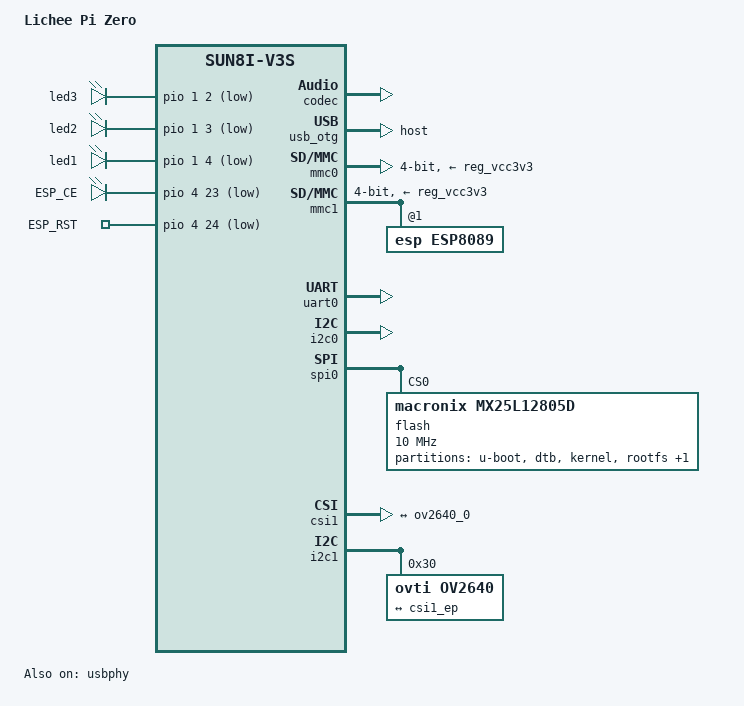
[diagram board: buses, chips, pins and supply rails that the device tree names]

/dts-v1/;
#include "sun8i-v3s.dtsi"
#include "sunxi-common-regulators.dtsi"

/ {
	model = "Lichee Pi Zero";
	compatible = "licheepi,licheepi-zero", "allwinner,sun8i-v3s";

	aliases {
		serial0 = &uart0;
	};

	chosen {
		stdout-path = "serial0:115200n8";
	};

	leds {
		compatible = "gpio-leds";

		pb2_led {
			label = "led3";
			gpios = <&pio 1 2 GPIO_ACTIVE_LOW>; /* PB2 */ //led 3
			default-state = "on";
		};
		pb3_led {
			label = "led2";
			gpios = <&pio 1 3 GPIO_ACTIVE_LOW>; /* PB3 */ //led 2
			default-state = "on";
		};
		pb4_led {
			label = "led1";
			gpios = <&pio 1 4 GPIO_ACTIVE_LOW>; /* PB4 */ //led 1
			linux,default-trigger = "heartbeat";
		};
		pe23_ESP_CE {
			label = "ESP_CE";
			gpios = <&pio 4 23 GPIO_ACTIVE_LOW>; /* PE23 */
			default-state = "off";
		};
		pe24_ESP_RST {
			label = "ESP_RST";
			gpios = <&pio 4 24 GPIO_ACTIVE_LOW>; /* PE24 */
			default-state = "off";
		};
	};
};

&codec {
	allwinner,audio-routing =
		"Headphone", "HP",
		"Headphone", "HPCOM",
		"MIC1", "Mic",
		"Mic",  "HBIAS";
	status = "okay";
};


&usb_otg {
	dr_mode = "host";
	status = "okay";
};

&usbphy {
	usb0_id_det = <&pio 5 6 GPIO_ACTIVE_HIGH>;
	status = "okay";
};

/*
&ehci0 {
	status = "okay";
};
&ohci0 {
	status = "okay";
};
*/
&mmc0 {
	broken-cd;
	bus-width = <4>;
	vmmc-supply = <&reg_vcc3v3>;
	status = "okay";
};

&mmc1 {
	#address-cells = <1>;
	#size-cells = <0>;

//	vmmc-supply = <&reg_dldo1>;
//	mmc-pwrseq = <&wifi_pwrseq>;
	bus-width = <4>;
//	non-removable;
	broken-cd;
	vmmc-supply = <&reg_vcc3v3>;
	status = "okay";

	esp8089: sdio_wifi@1 {
		compatible = "esp,esp8089";
		reg = <1>;
		esp,crystal-26M-en = <1>;
	};
};

&uart0 {
	pinctrl-0 = <&uart0_pb_pins>;
	pinctrl-names = "default";
	status = "okay";
};

&i2c0 {
	pinctrl-0 = <&i2c0_pins>;
	pinctrl-names = "default";
	status = "okay";
};

&spi0 {		// NOR Flash
        status ="okay";          
    flash: mx25l12805d@0 {
        #address-cells = <1>;
        #size-cells = <1>;
        compatible = "macronix,mx25l12805d", "jedec,spi-nor";
        reg = <0>;
        spi-max-frequency = <10000000>;
        partitions {
            compatible = "fixed-partitions";
            #address-cells = <1>;
            #size-cells = <1>;

            partition@0 {
                label = "u-boot";
                reg = <0x000000 0x80000>;
                //read-only;
            };

            partition@80000 {
                label = "dtb";
                reg = <0x80000 0x10000>;
                //read-only;
            };

            partition@90000 {
                label = "kernel";
                reg = <0x90000 0x490000>;
                //read-only;
            };

// 16MB
            partition@520000 {
                label = "rootfs";
                reg = <0x520000 0xAB0000>;
            };

            partition@FA0000 {
                label = "overlay";
                reg = <0xFD0000 0x30000>;
            };

        };
    };

};


// OV2640

&csi1 {
	status = "okay";
	pinctrl-names = "default";
	pinctrl-0 = <&csi1_8bit_pins>;
	port {
		csi1_ep: endpoint {
			remote-endpoint = <&ov2640_0>;
			hsync-active = <0>;
			vsync-active = <0>;
			bus-width = <10>;
			pclk-sample = <1>;
		};
	};
};

&i2c1 {
	pinctrl-0 = <&i2c1_pe_pins>;
	pinctrl-names = "default";
	status = "okay";

	ov2640: camera@30 {
		compatible = "ovti,ov2640";
		reg = <0x30>;
		pinctrl-names = "default";
		pinctrl-0 = <&csi1_mclk_pin>;
		clocks = <&ccu CLK_CSI1_MCLK>;
		clock-names = "xvclk";
		assigned-clocks = <&ccu CLK_CSI1_MCLK>;
		assigned-clock-rates = <24000000>;
		
		port {
			ov2640_0: endpoint {
				remote-endpoint = <&csi1_ep>;
				bus-width = <10>;
			};
		};
	};
};

/*
// OV5640
&csi1 {
	pinctrl-names = "default";
	pinctrl-0 = <&csi1_8bit_pins>;
	status = "okay";

	port {
		#address-cells = <1>;
		#size-cells = <0>;

		csi1_ep: endpoint {
			remote-endpoint = <&ov5640_ep>;
			bus-width = <8>;
			hsync-active = <1>;		// Active high
			vsync-active = <0>;		// Active low
			data-active = <1>;		// Active high
			pclk-sample = <1>;		// Rising
		};
	};
};

&i2c1 {
	pinctrl-names = "default";
	pinctrl-0 = <&i2c1_pe_pins>;
	status = "okay";

	ov5640: camera@3c {
		compatible = "ovti,ov5640";
		reg = <0x3c>;
		pinctrl-names = "default";
		pinctrl-0 = <&csi1_mclk_pin>;
		clocks = <&ccu CLK_CSI1_MCLK>;
		clock-names = "xclk";

		AVDD-supply = <&reg_vcc2v8>;
		DOVDD-supply = <&reg_vcc2v8>;
		DVDD-supply = <&reg_vcc1v8>;
		//reset-gpios = <&pio 4 23 GPIO_ACTIVE_LOW>;			// PE23
		//powerdown-gpios = <&pio 4 24 GPIO_ACTIVE_HIGH>;		// PE24

		port {
			ov5640_ep: endpoint {
				remote-endpoint = <&csi1_ep>;
				bus-width = <8>;
				hsync-active = <1>;		// Active high
				vsync-active = <0>;		// Active low
				data-active = <1>;		// Active high
				pclk-sample = <1>;		// Rising
			};
		};
	};
};
*/
